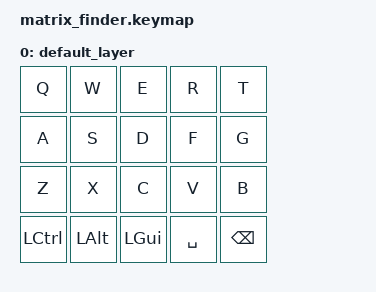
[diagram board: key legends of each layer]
// config/boards/shields/matrix_finder/matrix_finder.keymap

#include <behaviors.dtsi>
#include <dt-bindings/zmk/keys.h>
#include <dt-bindings/zmk/matrix/keymap.h>

/ {
    keymap {
        compatible = "zmk,keymap";

        default_layer {
            bindings = <
            // Первая строка (соответствует первому пину в row-gpios)
            &kp Q      &kp W      &kp E      &kp R      &kp T
            // Вторая строка
            &kp A      &kp S      &kp D      &kp F      &kp G
            // Третья строка
            &kp Z      &kp X      &kp C      &kp V      &kp B
            // Четвертая строка
            &kp LCTRL  &kp LALT   &kp LGUI   &kp SPACE  &kp BSPC
            >;
        };
    };
};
